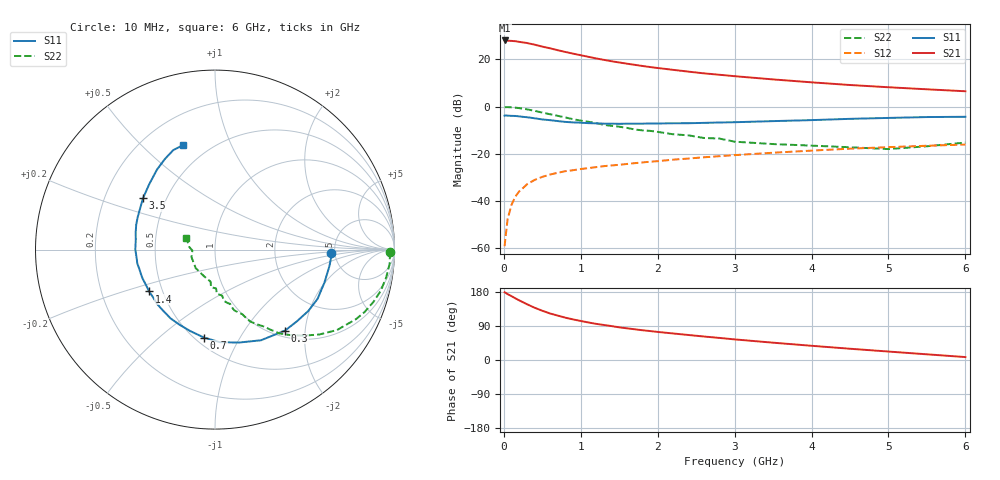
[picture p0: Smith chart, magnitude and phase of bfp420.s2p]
! SIEMENS Discrete & RF Semiconductors
! BFP420
! Si NPN RF SIEGET Grounded Emitter Transistor in SOT343
! VCE = 2 V  IC = 10 mA
! Common Emitter S-Parameters:  February  1998
# GHz  S  MA  R  50
!  f  S11  S21  S12  S22
! GHz  MAG  ANG  MAG  ANG  MAG  ANG  MAG  ANG
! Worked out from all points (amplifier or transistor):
!   36 points, 10 MHz to 6 GHz, reference 50 ohm
!   highest |S21| = 28.1 dB at 10 MHz (marker M1)
!   |S21| within 3 dB of that: start of sweep to 554.6 MHz
!   unconditionally stable (mu >= 1): 2.526 GHz to end of sweep
!   at 250 MHz: K = 0.17, MSG = 30.9 dB, |S12| = -34.5 dB
!   at 1.4 GHz: K = 0.75, MSG = 22.1 dB, |S12| = -24.9 dB
!   at 6 GHz: K = 1.14, MAG = 9.1 dB, |S12| = -16.1 dB
!   lowest NFmin = 1.05 dB at 450 MHz
!   S11 on the Smith chart (normalised r, x): 10 MHz: 4.60, -0.32; 300 MHz: 1.12, -1.57; 700 MHz: 0.55, -0.72; 1.4 GHz: 0.42, -0.24; 3.5 GHz: 0.37, +0.28; 6 GHz: 0.36, +0.68
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0.01  0.6441 -1.8  25.29 178.6  0.0011 88.8  0.9771 -0.8
0.02  0.6491 -3.5  24.97 177.6  0.0016 71.2  0.975 -1.7
0.05  0.6441 -8.2  25.03 173.7  0.0042 82.3  0.9764 -4.6
0.15  0.6339 -25.7  24.39 162.7  0.0124 77.4  0.952 -13.9
0.2  0.6221 -33.4  23.61 157.3  0.016 75.2  0.93 -18.2
0.3  0.5965 -49.1  22.36 147.3  0.0225 69.6  0.8765 -26.2
0.4  0.5665 -63.1  20.59 137.9  0.0279 64.3  0.8141 -33.4
0.5  0.5347 -75.6  18.73 130.0  0.0324 60.5  0.7485 -39.2
0.6  0.5165 -87.0  17.25 122.8  0.0363 56.9  0.6899 -44.0
0.7  0.494 -97.1  15.72 117.2  0.0396 54.5  0.6391 -48.3
0.8  0.4743 -106.9  14.42 111.7  0.0428 52.5  0.5895 -52.4
0.9  0.463 -115.1  13.28 107.1  0.0449 51.4  0.541 -55.4
1.1  0.4464 -130.3  11.37 99.0  0.0497 48.8  0.4775 -60.7
1.2  0.4427 -136.7  10.52 95.4  0.0522 48.4  0.446 -63.9
1.4  0.4348 -147.6  9.172 89.5  0.0566 47.5  0.3905 -67.1
1.8  0.4352 -165.8  7.286 78.6  0.0655 45.9  0.314 -74.4
2.2  0.444 179.8  6.026 70.0  0.0751 44.6  0.2594 -81.2
2.6  0.4524 167.6  5.081 62.0  0.0843 43.0  0.2163 -88.5
3.5  0.4929 144.5  3.776 45.7  0.1054 36.8  0.1608 -112.1
4.5  0.5508 125.9  2.874 29.7  0.1284 29.3  0.1375 -162.2
5.5  0.601 112.8  2.33 15.0  0.1481 21.4  0.1444 174.2
6  0.609 106.9  2.118 7.7  0.1571 16.8  0.1729 157.6
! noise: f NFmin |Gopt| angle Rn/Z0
0.45  1.05  0.03  34  0.17
0.9  1.08  0.01  25  0.13
1.8  1.19  0.09  -160  0.12
2.4  1.29  0.11  -179  0.13
3  1.39  0.19  -152  0.14
4  1.51  0.34  -127  0.16
